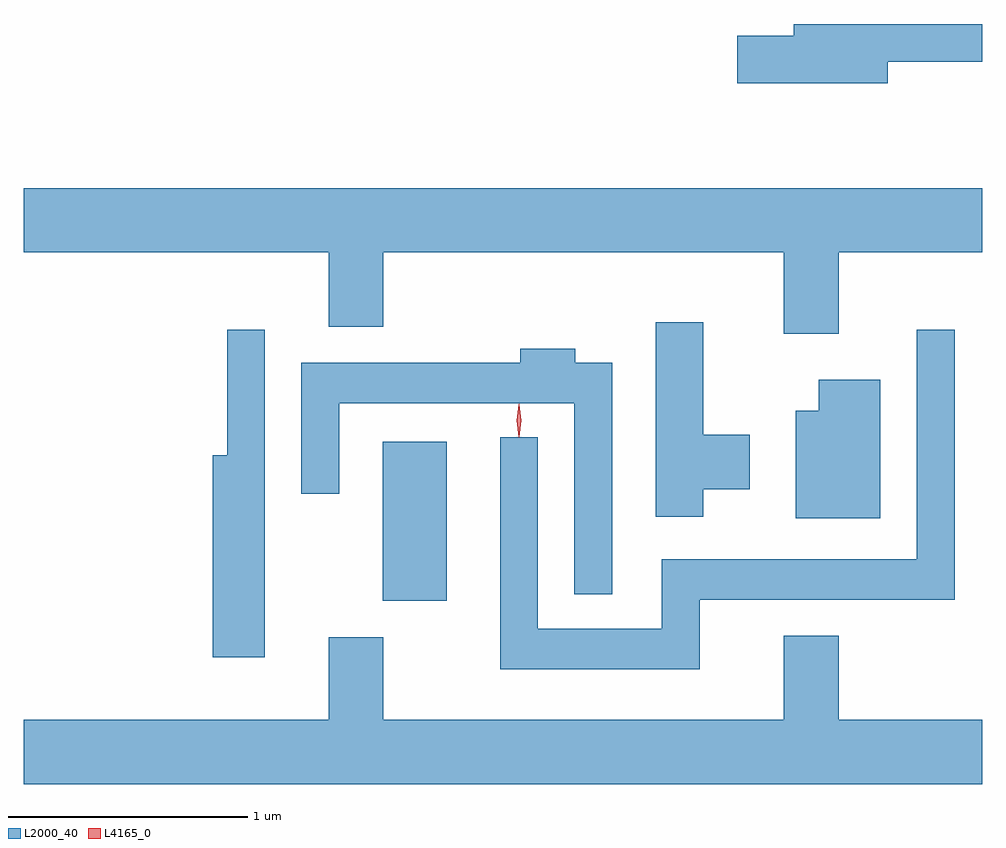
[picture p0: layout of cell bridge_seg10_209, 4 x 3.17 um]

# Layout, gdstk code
import gdstk
lib = gdstk.Library(unit=1e-6, precision=1e-09)
def R(c, l, rs):  # rectangles x0, y0, x1, y1
    for r in rs: c.add(gdstk.rectangle(r[:2], r[2:], *l))
def P(c, l, *ps):  # polygons
    for p in ps: c.add(gdstk.Polygon(p, *l))
L2000_40 = (2000, 40)
L4165_0 = (4165, 0)

bridge_seg10_209 = lib.new_cell('bridge_seg10_209')
R(bridge_seg10_209, L2000_40, [(1720.796,2083.601,1721.064,2084.264)])
P(bridge_seg10_209, L2000_40, [(1722.904,2085.851),(1723.298,2085.851),(1723.298,2086.009),(1722.511,2086.009),(1722.511,2085.959),(1722.276,2085.959),(1722.276,2085.761),(1722.904,2085.761)],
  [(1722.699,2085.056),(1723.298,2085.056),(1723.298,2085.324),(1719.298,2085.324),(1719.298,2085.056),(1720.571,2085.056),(1720.571,2084.746),(1720.799,2084.746),(1720.799,2085.056),(1722.471,2085.056),(1722.471,2084.716),(1722.699,2084.716)],
  [(1722.134,2084.066),(1722.329,2084.066),(1722.329,2084.294),(1722.134,2084.294),(1722.134,2084.764),(1721.936,2084.764),(1721.936,2083.951),(1722.134,2083.951)],
  [(1722.119,2083.606),(1723.184,2083.606),(1723.184,2084.733),(1723.026,2084.733),(1723.026,2083.774),(1721.961,2083.774),(1721.961,2083.484),(1721.444,2083.484),(1721.444,2084.283),(1721.286,2084.283),(1721.286,2083.316),(1722.119,2083.316)],
  [(1720.304,2084.733),(1720.146,2084.733),(1720.146,2084.209),(1720.086,2084.209),(1720.086,2083.366),(1720.304,2083.366)],
  [(1721.754,2084.594),(1721.599,2084.594),(1721.599,2084.654),(1721.371,2084.654),(1721.371,2084.594),(1720.456,2084.594),(1720.456,2084.048),(1720.614,2084.048),(1720.614,2084.426),(1721.596,2084.426),(1721.596,2083.628),(1721.754,2083.628)],
  [(1722.874,2084.524),(1722.616,2084.524),(1722.616,2084.394),(1722.521,2084.394),(1722.521,2083.946),(1722.874,2083.946)],
  [(1723.298,2083.104),(1722.699,2083.104),(1722.699,2083.454),(1722.471,2083.454),(1722.471,2083.104),(1720.799,2083.104),(1720.799,2083.449),(1720.571,2083.449),(1720.571,2083.104),(1719.298,2083.104),(1719.298,2082.836),(1723.298,2082.836)])
P(bridge_seg10_209, L4165_0, [(1721.364,2084.284),(1721.355,2084.354),(1721.364,2084.422),(1721.365,2084.423),(1721.366,2084.422),(1721.375,2084.354),(1721.366,2084.284),(1721.365,2084.284)])

lib.write_gds('bridge_seg10_209.gds')
